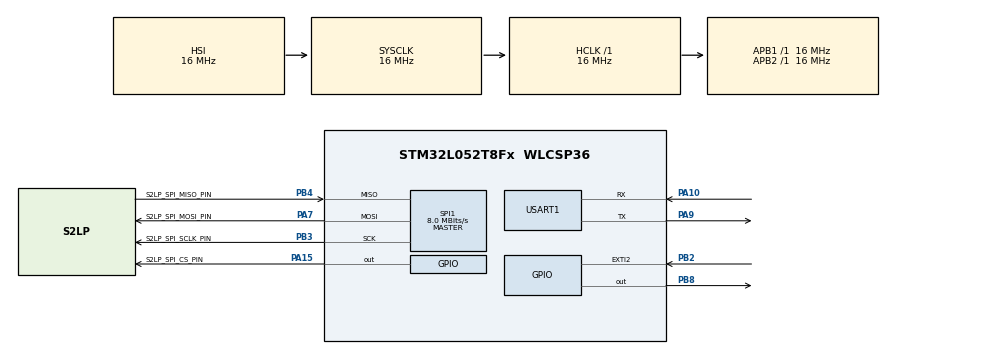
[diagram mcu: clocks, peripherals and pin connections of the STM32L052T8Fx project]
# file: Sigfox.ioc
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Dma.Request0=SPI1_TX
Dma.Request1=SPI1_RX
Dma.Request2=USART1_RX
Dma.Request3=USART1_TX
Dma.SPI1_RX.1.Direction=DMA_PERIPH_TO_MEMORY
Dma.SPI1_RX.1.Instance=DMA1_Channel2
Dma.SPI1_RX.1.MemDataAlignment=DMA_MDATAALIGN_BYTE
Dma.SPI1_RX.1.MemInc=DMA_MINC_ENABLE
Dma.SPI1_RX.1.Mode=DMA_NORMAL
Dma.SPI1_RX.1.PeriphDataAlignment=DMA_PDATAALIGN_BYTE
Dma.SPI1_RX.1.PeriphInc=DMA_PINC_DISABLE
Dma.SPI1_RX.1.Priority=DMA_PRIORITY_HIGH
Dma.SPI1_TX.0.Direction=DMA_MEMORY_TO_PERIPH
Dma.SPI1_TX.0.Instance=DMA1_Channel3
Dma.SPI1_TX.0.MemDataAlignment=DMA_MDATAALIGN_BYTE
Dma.SPI1_TX.0.MemInc=DMA_MINC_ENABLE
Dma.SPI1_TX.0.Mode=DMA_NORMAL
Dma.SPI1_TX.0.PeriphDataAlignment=DMA_PDATAALIGN_BYTE
Dma.SPI1_TX.0.PeriphInc=DMA_PINC_DISABLE
Dma.SPI1_TX.0.Priority=DMA_PRIORITY_HIGH
Dma.USART1_RX.2.Direction=DMA_PERIPH_TO_MEMORY
Dma.USART1_RX.2.Instance=DMA1_Channel5
Dma.USART1_RX.2.MemDataAlignment=DMA_MDATAALIGN_BYTE
Dma.USART1_RX.2.MemInc=DMA_MINC_ENABLE
Dma.USART1_RX.2.Mode=DMA_CIRCULAR
Dma.USART1_RX.2.PeriphDataAlignment=DMA_PDATAALIGN_BYTE
Dma.USART1_RX.2.PeriphInc=DMA_PINC_DISABLE
Dma.USART1_RX.2.Priority=DMA_PRIORITY_LOW
Dma.USART1_TX.3.Direction=DMA_MEMORY_TO_PERIPH
Dma.USART1_TX.3.Instance=DMA1_Channel4
Dma.USART1_TX.3.MemDataAlignment=DMA_MDATAALIGN_BYTE
Dma.USART1_TX.3.MemInc=DMA_MINC_ENABLE
Dma.USART1_TX.3.Mode=DMA_NORMAL
Dma.USART1_TX.3.PeriphDataAlignment=DMA_PDATAALIGN_BYTE
Dma.USART1_TX.3.PeriphInc=DMA_PINC_DISABLE
Dma.USART1_TX.3.Priority=DMA_PRIORITY_LOW
Mcu.Family=STM32L0
Mcu.Name=STM32L052T8Fx
Mcu.Package=WLCSP36
NVIC.DMA1_Channel2_3_IRQn=true\:1\:0\:true\:false\:true\:false\:true
NVIC.DMA1_Channel4_5_6_7_IRQn=true\:0\:0\:false\:false\:true\:false\:true
NVIC.EXTI2_3_IRQn=true\:0\:0\:false\:false\:true\:true\:true
NVIC.RTC_IRQn=true\:1\:0\:true\:false\:true\:true\:true
NVIC.TIM6_DAC_IRQn=true\:1\:0\:true\:false\:true\:true\:true
PA10.Mode=Asynchronous
PA10.Signal=USART1_RX
PA13.Mode=Serial_Wire
PA13.Signal=SYS_SWDIO
PA14.Mode=Serial_Wire
PA14.Signal=SYS_SWCLK
PA15.GPIO_Label=S2LP_SPI_CS_PIN
PA15.GPIO_PuPd=GPIO_PULLUP
PA15.GPIO_Speed=GPIO_SPEED_FREQ_HIGH
PA15.PinState=GPIO_PIN_SET
PA15.Signal=GPIO_Output
PA7.GPIO_Label=S2LP_SPI_MOSI_PIN
PA7.GPIO_PuPd=GPIO_PULLUP
PA7.GPIO_Speed=GPIO_SPEED_FREQ_HIGH
PA7.Mode=Full_Duplex_Master
PA7.Signal=SPI1_MOSI
PA9.Mode=Asynchronous
PA9.Signal=USART1_TX
PB2.GPIO_ModeDefaultEXTI=GPIO_MODE_IT_FALLING
PB2.Signal=GPXTI2
PB3.GPIO_Label=S2LP_SPI_SCLK_PIN
PB3.GPIO_PuPd=GPIO_PULLUP
PB3.GPIO_Speed=GPIO_SPEED_FREQ_HIGH
PB3.Mode=Full_Duplex_Master
PB3.Signal=SPI1_SCK
PB4.GPIO_Label=S2LP_SPI_MISO_PIN
PB4.GPIO_PuPd=GPIO_PULLUP
PB4.GPIO_Speed=GPIO_SPEED_FREQ_HIGH
PB4.Mode=Full_Duplex_Master
PB4.Signal=SPI1_MISO
PB8.GPIO_FM8=__NULL
PB8.GPIO_Speed=GPIO_SPEED_FREQ_HIGH
PB8.Signal=GPIO_Output
ProjectManager.HeapSize=0x200
ProjectManager.StackSize=0x400
ProjectManager.TargetToolchain=MDK-ARM V5
RCC.AHBFreq_Value=16000000
RCC.APB1Freq_Value=16000000
RCC.APB1TimFreq_Value=16000000
RCC.APB2Freq_Value=16000000
RCC.APB2TimFreq_Value=16000000
RCC.HCLKFreq_Value=16000000
RCC.HSI16_VALUE=16000000
RCC.HSI48_VALUE=48000000
RCC.HSI_VALUE=16000000
RCC.LSE_VALUE=32768
RCC.MSI_VALUE=2097000
RCC.PLLDIV=RCC_PLLDIV_4
RCC.PLLMUL=RCC_PLLMUL_4
RCC.SYSCLKFreq_VALUE=16000000
RCC.SYSCLKSource=RCC_SYSCLKSOURCE_HSI
RCC.VCOOutputFreq_Value=64000000
RTC.AsynchPrediv=127
RTC.SynchPrediv=255
RTC.WakeUpCounter=1000
SPI1.BaudRatePrescaler=SPI_BAUDRATEPRESCALER_2
SPI1.CalculateBaudRate=8.0 MBits/s
SPI1.Direction=SPI_DIRECTION_2LINES
SPI1.Mode=SPI_MODE_MASTER
SPI1.VirtualNSS=VM_NSSHARD
SPI1.VirtualType=VM_MASTER
TIM6.Period=1000-1
TIM6.Prescaler=64-1
USART1.VirtualMode-Asynchronous=VM_ASYNC
VP_ADC_TempSens_Input.Mode=IN-TempSens
VP_ADC_Vref_Input.Mode=IN-Vrefint
VP_RTC_VS_RTC_Activate.Mode=RTC_Enabled
VP_RTC_VS_RTC_Calendar.Mode=RTC_Calendar
VP_RTC_VS_RTC_WakeUp_intern.Mode=WakeUp
VP_TIM2_VS_ClockSourceINT.Mode=Internal
VP_TIM6_VS_ClockSourceINT.Mode=Enable_Timer
board=custom

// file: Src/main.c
/* USER CODE BEGIN Header */
/**
  ******************************************************************************
  * @file           : main.c
  * @brief          : Main program body
  ******************************************************************************
  * @attention
  *
  * <h2><center>&copy; Copyright (c) 2019 STMicroelectronics.
  * All rights reserved.</center></h2>
  *
  * This software component is licensed by ST under BSD 3-Clause license,
  * the "License"; You may not use this file except in compliance with the
  * License. You may obtain a copy of the License at:
  *                        opensource.org/licenses/BSD-3-Clause
  *
  ******************************************************************************
  */
/* USER CODE END Header */

#include "main.h"
#include "adc.h"
#include "dma.h"
#include "rtc.h"
#include "spi.h"
#include "tim.h"
#include "usart.h"
#include "gpio.h"

/* USER CODE BEGIN Includes */
#include "monarch_app.h"
/* USER CODE END Includes */

void SystemClock_Config(void);

int main(void)
{

  /* MCU Configuration--------------------------------------------------------*/

  /* Reset of all peripherals, Initializes the Flash interface and the Systick. */
  HAL_Init();

  /* Configure the system clock */
  SystemClock_Config();

  /* Initialize all configured peripherals */
  MX_GPIO_Init();
  MX_DMA_Init();
  MX_SPI1_Init();
  MX_TIM6_Init();
  MX_RTC_Init();
  MX_ADC_Init();
  MX_TIM2_Init();
  MX_USART1_UART_Init();
  /* USER CODE BEGIN 2 */

	mcuConfig();

  /* USER CODE END 2 */

  /* Infinite loop */
  while (1)
  {

    /* USER CODE BEGIN 3 */

		if(getScanStatus()) {
			monarchScan(ALL_REGIONS, TIMEOUT, SFX_TIME_M);
			setScanStatus(0);
		}

		configRegion();

  }
  /* USER CODE END 3 */
}

void SystemClock_Config(void)
{
  RCC_OscInitTypeDef RCC_OscInitStruct = {0};
  RCC_ClkInitTypeDef RCC_ClkInitStruct = {0};
  RCC_PeriphCLKInitTypeDef PeriphClkInit = {0};

  /** Configure the main internal regulator output voltage
  */
  __HAL_PWR_VOLTAGESCALING_CONFIG(PWR_REGULATOR_VOLTAGE_SCALE1);
  /** Initializes the CPU, AHB and APB busses clocks
  */
  RCC_OscInitStruct.OscillatorType = RCC_OSCILLATORTYPE_HSI|RCC_OSCILLATORTYPE_LSI;
  RCC_OscInitStruct.HSIState = RCC_HSI_ON;
  RCC_OscInitStruct.HSICalibrationValue = RCC_HSICALIBRATION_DEFAULT;
  RCC_OscInitStruct.LSIState = RCC_LSI_ON;
  RCC_OscInitStruct.PLL.PLLState = RCC_PLL_NONE;
  if (HAL_RCC_OscConfig(&RCC_OscInitStruct) != HAL_OK)
  {
    Error_Handler();
  }
  /** Initializes the CPU, AHB and APB busses clocks
  */
  RCC_ClkInitStruct.ClockType = RCC_CLOCKTYPE_HCLK|RCC_CLOCKTYPE_SYSCLK
                              |RCC_CLOCKTYPE_PCLK1|RCC_CLOCKTYPE_PCLK2;
  RCC_ClkInitStruct.SYSCLKSource = RCC_SYSCLKSOURCE_HSI;
  RCC_ClkInitStruct.AHBCLKDivider = RCC_SYSCLK_DIV1;
  RCC_ClkInitStruct.APB1CLKDivider = RCC_HCLK_DIV1;
  RCC_ClkInitStruct.APB2CLKDivider = RCC_HCLK_DIV1;

  if (HAL_RCC_ClockConfig(&RCC_ClkInitStruct, FLASH_LATENCY_0) != HAL_OK)
  {
    Error_Handler();
  }
  PeriphClkInit.PeriphClockSelection = RCC_PERIPHCLK_USART1|RCC_PERIPHCLK_RTC;
  PeriphClkInit.Usart1ClockSelection = RCC_USART1CLKSOURCE_PCLK2;
  PeriphClkInit.RTCClockSelection = RCC_RTCCLKSOURCE_LSI;
  if (HAL_RCCEx_PeriphCLKConfig(&PeriphClkInit) != HAL_OK)
  {
    Error_Handler();
  }
}

/* USER CODE BEGIN 4 */

void mcuConfig(void) {
	ST_SFX_ERR stSfxRetErr;

	ST_Init();

	NVM_BoardDataType sfxConfiguration;
	stSfxRetErr = ST_Sigfox_Init(&sfxConfiguration, 0);

	if(stSfxRetErr != ST_SFX_ERR_NONE) {
		if(stSfxRetErr == ST_SFX_ERR_CREDENTIALS) {
			sfxConfiguration.id = 0;
			memset(sfxConfiguration.pac, 0x00, 8);
			sfxConfiguration.rcz = 0;

		}
	}

	/* Calibrate RTC in case of STM32*/
	ST_MCU_API_TimerCalibration(500);

	printf("Sigfox iMCP HT32SX - Monarch Scan\n");
	printf("ID: %.8X - PAC: ", (unsigned int)sfxConfiguration.id);

	for(uint16_t i = 0; i < sizeof(sfxConfiguration.pac); i++)
		printf("%.2X", sfxConfiguration.pac[i]);

	printf("\n");

	ST_RF_API_set_xtal_freq(50000000);
	ST_RF_API_set_freq_offset(sfxConfiguration.freqOffset);
	ST_RF_API_set_rssi_offset(sfxConfiguration.rssiOffset);
	ST_RF_API_set_lbt_thr_offset(sfxConfiguration.lbtOffset);

}

void ST_Init(void) {
	/* Put the radio off */
	S2LPShutdownInit();
	HAL_Delay(10);
	S2LPShutdownExit();

	/* FEM Initialization */
	FEM_Init();
}

/* USER CODE END 4 */

void Error_Handler(void)
{
}

/************************ (C) COPYRIGHT STMicroelectronics *****END OF FILE****/
